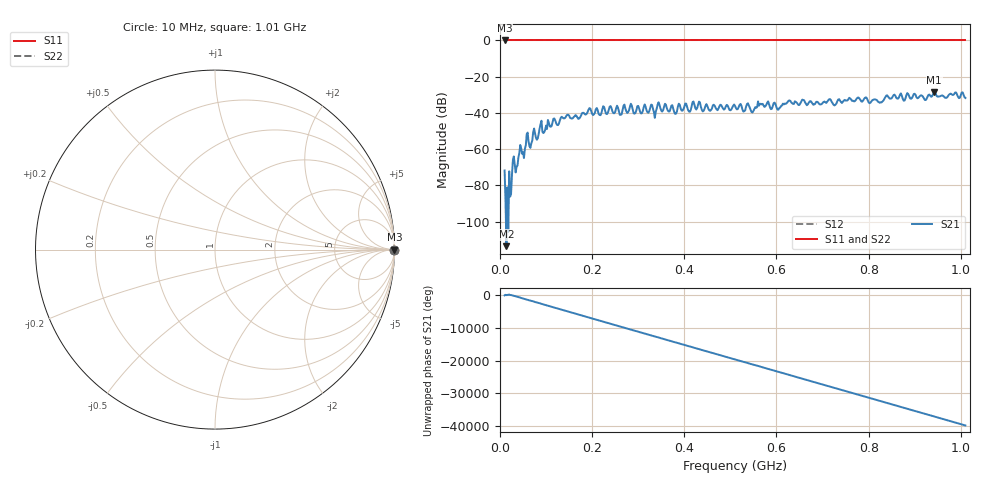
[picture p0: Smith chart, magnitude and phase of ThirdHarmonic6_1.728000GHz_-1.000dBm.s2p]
! 8/16/2025 8:48:53 PM
! C:\ANRITSUVNA\TEMP\TEMP.S2P
! CHANNEL.1
! TR.MEASUREMENT
! RAW.DATA
! RF.CORRECTION.OFF
! AVERAGING.OFF
! IF.BANDWIDTH: 5KHZ
! SWEEPTYPE:  FREQ.SWEEP(Linear)
! Reference Plane Port Info
! PORT:  PORT1  PORT2
! DISTANCE:  0  m  0  m
! TIME:  0  s  0  s
! PHASE.OFFSET:  0  deg.  0  deg.
! LOSS:  0  dB  0  dB
! REF.LOSS:  0  dB  0  dB
! REF.FREQ:  0  Hz  0  Hz
! Power Info
! POWER:  -20  dBm  -20  dBm
! EFF.POWER:  -20  dBm  -20  dBm
! SOURCE.ATTEN:  0  dB  0  dB
! TEST.ATTEN:  0  dB  0  dB
# GHZ S RI R 50.0
! FREQ.GHZ  S11RE  S11IM  S21RE  S21IM  S12RE  S12IM  S22RE  S22IM
!; PortSelection: Port_12
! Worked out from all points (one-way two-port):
!   501 points, 10 MHz to 1.01 GHz, reference 50 ohm
!   highest |S21| = -28.54 dB at 942 MHz (marker M1); lowest = -113.5 dB at 14 MHz (marker M2)
!   lowest |S11| = 0.0 dB at 10 MHz (marker M3)
!   |S11| at or under -10 dB: nowhere
!   |S22| runs from 0.0 to 0.0 dB; largest |S21 - S12| = 1
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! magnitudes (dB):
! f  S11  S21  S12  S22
! 10 MHz  0.0  -71.8  0.0  0.0
! 14 MHz  0.0  -113.5  0.0  0.0
! 20 MHz  0.0  -72.2  0.0  0.0
! 30 MHz  0.0  -64.0  0.0  0.0
! 36 MHz  0.0  -69.6  0.0  0.0
! 44 MHz  0.0  -57.7  0.0  0.0
! 52 MHz  0.0  -64.9  0.0  0.0
! 58 MHz  0.0  -51.7  0.0  0.0
! 66 MHz  0.0  -59.3  0.0  0.0
! 88 MHz  0.0  -46.2  0.0  0.0
! 178 MHz  0.0  -40.1  0.0  0.0
! 284 MHz  0.0  -34.9  0.0  0.0
! 336 MHz  0.0  -42.7  0.0  0.0
! 344 MHz  0.0  -34.1  0.0  0.0
! 380 MHz  0.0  -40.5  0.0  0.0
! 420 MHz  0.0  -33.7  0.0  0.0
! 510 MHz  0.0  -36.1  0.0  0.0
! 548 MHz  0.0  -39.7  0.0  0.0
! 678 MHz  0.0  -34.8  0.0  0.0
! 844 MHz  0.0  -31.6  0.0  0.0
! 942 MHz  0.0  -28.5  0.0  0.0
! 1.01 GHz  0.0  -31.7  0.0  0.0
